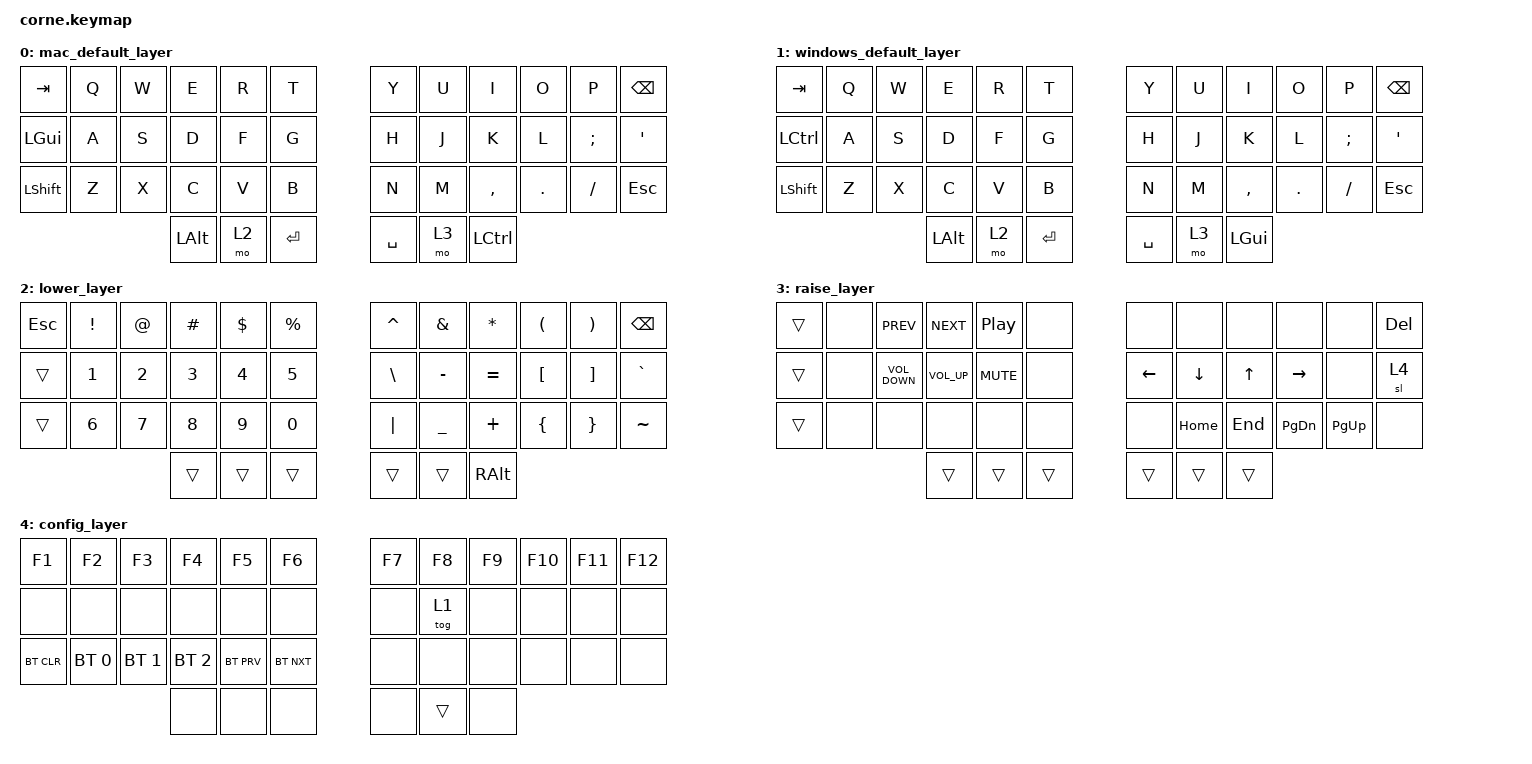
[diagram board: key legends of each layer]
/*
 * Copyright (c) 2020 The ZMK Contributors
 *
 * SPDX-License-Identifier: MIT
 */

#include <behaviors.dtsi>
#include <dt-bindings/zmk/bt.h>
#include <dt-bindings/zmk/keys.h>

/ {
    keymap {
        compatible = "zmk,keymap";

        mac_default_layer {
            // -----------------------------------------------------------------------------------------
            // |  TAB |  Q  |  W  |  E  |  R  |  T  |   |  Y  |  U   |  I  |  O  |  P  | BSPC |
            // | CTRL |  A  |  S  |  D  |  F  |  G  |   |  H  |  J   |  K  |  L  |  ;  |  '   |
            // | SHFT |  Z  |  X  |  C  |  V  |  B  |   |  N  |  M   |  ,  |  .  |  /  | ESC  |
            //                    | GUI | LWR | SPC |   | ENT | RSE  | ALT |

            bindings = <
&kp TAB       &kp Q  &kp W  &kp E         &kp R  &kp T        &kp Y      &kp U  &kp I      &kp O    &kp P     &kp BSPC
&kp LEFT_GUI  &kp A  &kp S  &kp D         &kp F  &kp G        &kp H      &kp J  &kp K      &kp L    &kp SEMI  &kp SQT
&kp LSHFT     &kp Z  &kp X  &kp C         &kp V  &kp B        &kp N      &kp M  &kp COMMA  &kp DOT  &kp FSLH  &kp ESC
                            &kp LEFT_ALT  &mo 2  &kp ENTER    &kp SPACE  &mo 3  &kp LCTRL
            >;
        };

        windows_default_layer {
            bindings = <
&kp TAB    &kp Q  &kp W  &kp E         &kp R  &kp T        &kp Y      &kp U  &kp I         &kp O    &kp P     &kp BSPC
&kp LCTRL  &kp A  &kp S  &kp D         &kp F  &kp G        &kp H      &kp J  &kp K         &kp L    &kp SEMI  &kp SQT
&kp LSHFT  &kp Z  &kp X  &kp C         &kp V  &kp B        &kp N      &kp M  &kp COMMA     &kp DOT  &kp FSLH  &kp ESC
                         &kp LEFT_ALT  &mo 2  &kp ENTER    &kp SPACE  &mo 3  &kp LEFT_GUI
            >;
        };

        lower_layer {
            // -----------------------------------------------------------------------------------------
            // |  TAB |  !  |  @  |  #  |  $  |  %  |   |  ^  |  &  |  *  |  (  |  )  | BSPC |
            // | CTRL |     |     |     |     |     |   |  -  |  =  |  [  |  ]  |  \  |  `   |
            // | SHFT |     |     |     |     |     |   |  _  |  +  |  {  |  }  | "|" |  ~   |
            //                    | GUI |     | SPC |   | ENT |     | ALT |

            bindings = <
&kp ESC  &kp EXCL  &kp AT  &kp HASH  &kp DLLR  &kp PRCNT    &kp CARET      &kp AMPS        &kp ASTRK  &kp LPAR          &kp RPAR           &kp BSPC
&trans   &kp N1    &kp N2  &kp N3    &kp N4    &kp N5       &kp BACKSLASH  &kp MINUS       &kp EQUAL  &kp LEFT_BRACKET  &kp RIGHT_BRACKET  &kp GRAVE
&trans   &kp N6    &kp N7  &kp N8    &kp N9    &kp N0       &kp PIPE       &kp UNDERSCORE  &kp PLUS   &kp LEFT_BRACE    &kp RIGHT_BRACE    &kp TILDE
                           &trans    &trans    &trans       &trans         &trans          &kp RALT
            >;
        };

        raise_layer {
            // -----------------------------------------------------------------------------------------
            // |  TAB |  1  |  2  |  3  |  4  |  5  |   |  6  |  7  |  8  |  9  |  0  | BSPC |
            // | BTCLR| BT1 | BT2 | BT3 | BT4 | BT5 |   | LFT | DWN |  UP | RGT |     |      |
            // | SHFT |     |     |     |     |     |   |     |     |     |     |     |      |
            //                    | GUI |     | SPC |   | ENT |     | ALT |

            bindings = <
&trans  &none  &kp C_PREV         &kp C_NEXT       &kp C_PLAY_PAUSE  &none     &none     &none     &none    &none          &none        &kp DEL
&trans  &none  &kp C_VOLUME_DOWN  &kp C_VOLUME_UP  &kp C_MUTE        &none     &kp LEFT  &kp DOWN  &kp UP   &kp RIGHT      &none        &sl 4
&trans  &none  &none              &none            &none             &none     &none     &kp HOME  &kp END  &kp PAGE_DOWN  &kp PAGE_UP  &none
                                  &trans           &trans            &trans    &trans    &trans    &trans
            >;
        };

        config_layer {
            bindings = <
&kp F1      &kp F2        &kp F3        &kp F4        &kp F5      &kp F6        &kp F7  &kp F8  &kp F9  &kp F10  &kp F11  &kp F12
&none       &none         &none         &none         &none       &none         &none   &tog 1  &none   &none    &none    &none
&bt BT_CLR  &bt BT_SEL 0  &bt BT_SEL 1  &bt BT_SEL 2  &bt BT_PRV  &bt BT_NXT    &none   &none   &none   &none    &none    &none
                                        &none         &none       &none         &none   &trans  &none
            >;
        };
    };
};
